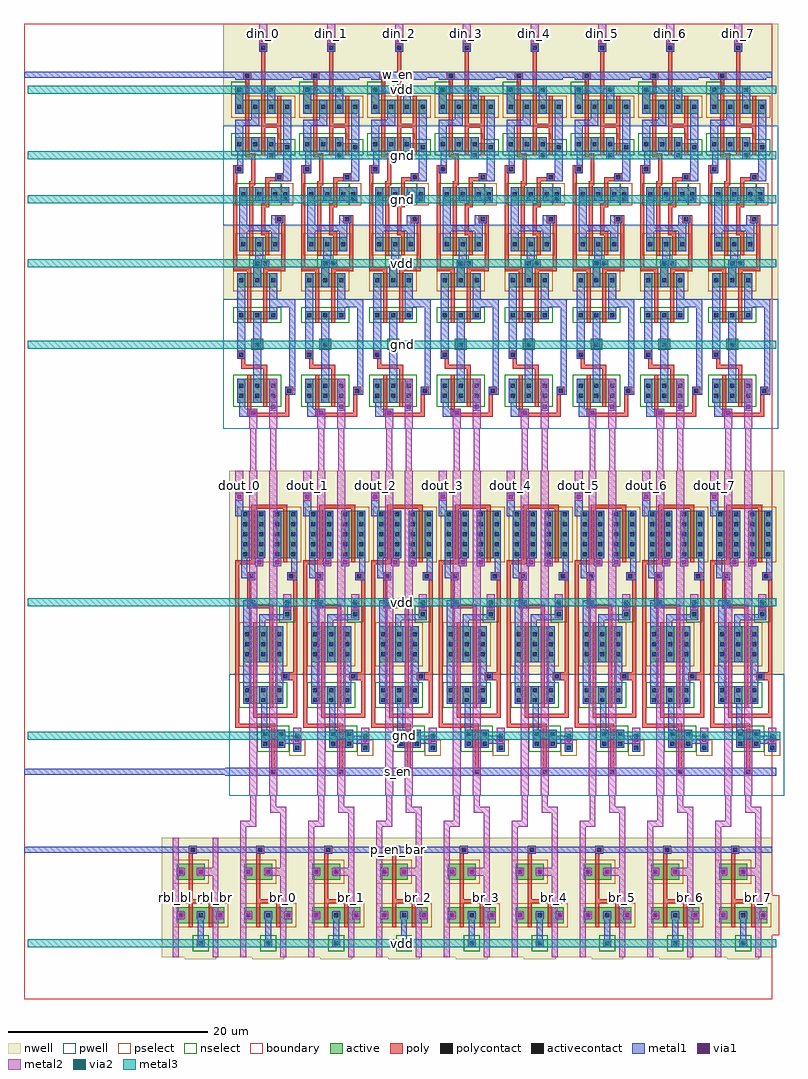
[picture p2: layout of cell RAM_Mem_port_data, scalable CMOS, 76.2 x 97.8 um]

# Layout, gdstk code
import gdstk
lib = gdstk.Library(unit=1e-6, precision=1e-09)
def R(c, l, rs):  # rectangles x0, y0, x1, y1
    for r in rs: c.add(gdstk.rectangle(r[:2], r[2:], *l))
def A(c, l, x, y, w, h, nx, ny, dx, dy):  # array of equal rectangles
    R(c, l, [(x+i*dx, y+j*dy, x+i*dx+w, y+j*dy+h) for i in range(nx) for j in range(ny)])
def P(c, l, *ps):  # polygons
    for p in ps: c.add(gdstk.Polygon(p, *l))
pwell = (41, 0)
nwell = (42, 0)
active = (43, 0)
pselect = (44, 0)
nselect = (45, 0)
poly = (46, 0)
polycontact = (47, 0)
activecontact = (48, 0)
metal1 = (49, 0)
via1 = (50, 0)
metal2 = (51, 0)
via2 = (61, 0)
metal3 = (62, 0)
boundary = (63, 0)

ram_mem_contact_12 = lib.new_cell('RAM_Mem_contact_12')
R(ram_mem_contact_12, nwell, [(-1.2,-1.2,2,2)])
R(ram_mem_contact_12, active, [(0,0,0.8,0.8)])
R(ram_mem_contact_12, pselect, [(-0.4,-0.4,1.2,1.2)])
R(ram_mem_contact_12, activecontact, [(0.2,0.2,0.6,0.6)])
R(ram_mem_contact_12, metal1, [(0,0,0.8,0.8)])
R(ram_mem_contact_12, boundary, [(-1.2,-1.2,2,2)])

ram_mem_pmos_m1_w1_600_s = lib.new_cell('RAM_Mem_pmos_m1_w1_600_sm1_dm1')
R(ram_mem_pmos_m1_w1_600_s, nwell, [(-1.2,-1.2,4,2.8)])
R(ram_mem_pmos_m1_w1_600_s, active, [(0,0,2.8,1.6)])
R(ram_mem_pmos_m1_w1_600_s, pselect, [(-0.4,-0.4,3.2,2)])
R(ram_mem_pmos_m1_w1_600_s, poly, [(1.2,-0.4,1.6,2), (1.2,-0.4,1.6,2)])
R(ram_mem_pmos_m1_w1_600_s, metal1, [(0,0.4,0.8,1.2), (2,0.4,2.8,1.2)])
R(ram_mem_pmos_m1_w1_600_s, boundary, [(-1.2,-1.2,4,2.8)])
ram_mem_pmos_m1_w1_600_s.add(gdstk.Reference(ram_mem_contact_12, (0,0.4)))
ram_mem_pmos_m1_w1_600_s.add(gdstk.Reference(ram_mem_contact_12, (2,0.4)))
ram_mem_pmos_m1_w1_600_s.add(gdstk.Label('G', (1.4,0.8), layer=46, texttype=0))
ram_mem_pmos_m1_w1_600_s.add(gdstk.Label('S', (0.4,0.8), layer=49, texttype=0))
ram_mem_pmos_m1_w1_600_s.add(gdstk.Label('D', (2.4,0.8), layer=49, texttype=0))

ram_mem_contact_15 = lib.new_cell('RAM_Mem_contact_15')
R(ram_mem_contact_15, poly, [(0,0,0.8,0.8)])
R(ram_mem_contact_15, polycontact, [(0.2,0.2,0.6,0.6)])
R(ram_mem_contact_15, metal1, [(0,0,0.8,0.8)])
R(ram_mem_contact_15, boundary, [(0,0,0.8,0.8)])

ram_mem_contact_23 = lib.new_cell('RAM_Mem_contact_23')
R(ram_mem_contact_23, nwell, [(-1.2,-1.2,2,2)])
R(ram_mem_contact_23, active, [(0,0,0.8,0.8)])
R(ram_mem_contact_23, nselect, [(-0.4,-0.4,1.2,1.2)])
R(ram_mem_contact_23, activecontact, [(0.2,0.2,0.6,0.6)])
R(ram_mem_contact_23, metal1, [(0,0,0.8,0.8)])
R(ram_mem_contact_23, boundary, [(-1.2,-1.2,2,2)])

ram_mem_contact_18 = lib.new_cell('RAM_Mem_contact_18')
R(ram_mem_contact_18, metal1, [(0,0,0.8,0.8)])
R(ram_mem_contact_18, via1, [(0.2,0.2,0.6,0.6)])
R(ram_mem_contact_18, metal2, [(0,0,0.8,0.8)])
R(ram_mem_contact_18, boundary, [(0,0,0.8,0.8)])

ram_mem_contact_24 = lib.new_cell('RAM_Mem_contact_24')
R(ram_mem_contact_24, metal1, [(0,0,0.8,0.8)])
R(ram_mem_contact_24, via1, [(0.2,0.2,0.6,0.6)])
R(ram_mem_contact_24, metal2, [(0,0,0.8,0.8)])
R(ram_mem_contact_24, boundary, [(0,0,0.8,0.8)])

ram_mem_precharge_0 = lib.new_cell('RAM_Mem_precharge_0')
R(ram_mem_precharge_0, nwell, [(0,0,6.8,12)])
R(ram_mem_precharge_0, poly, [(2.7,1,3.1,1.4), (2.9,1,3.1,1.4), (2.7,1.2,3.1,2.2), (2.7,4.6,3.1,6.6), (2.7,6.2,5.1,6.6)])
R(ram_mem_precharge_0, metal1, [(0,0.9,6.8,1.5), (3.6,7.8,4.2,10.6), (3.6,10.3,4.2,10.9)])
R(ram_mem_precharge_0, metal2, [(1.1,0,1.7,12), (1.1,0,1.7,12), (5.1,0,5.7,12), (5.1,0,5.7,12), (1.4,3,1.9,3.8), (3.9,3,5.4,3.8), (1.4,7.4,1.9,8.2), (5.4,7.4,5.9,8.2)])
R(ram_mem_precharge_0, boundary, [(0,0,6.8,12)])
ram_mem_precharge_0.add(gdstk.Reference(ram_mem_pmos_m1_w1_600_s, (1.5,2.6)))
ram_mem_precharge_0.add(gdstk.Reference(ram_mem_pmos_m1_w1_600_s, (1.5,7)))
ram_mem_precharge_0.add(gdstk.Reference(ram_mem_pmos_m1_w1_600_s, (3.5,7)))
ram_mem_precharge_0.add(gdstk.Reference(ram_mem_contact_15, (2.7,0.8)))
ram_mem_precharge_0.add(gdstk.Reference(ram_mem_contact_23, (3.5,10.2)))
ram_mem_precharge_0.add(gdstk.Reference(ram_mem_contact_18, (3.5,10.2)))
ram_mem_precharge_0.add(gdstk.Reference(ram_mem_contact_24, (1.5,3)))
ram_mem_precharge_0.add(gdstk.Reference(ram_mem_contact_24, (3.5,3)))
ram_mem_precharge_0.add(gdstk.Reference(ram_mem_contact_24, (1.5,7.4)))
ram_mem_precharge_0.add(gdstk.Reference(ram_mem_contact_24, (5.5,7.4)))
ram_mem_precharge_0.add(gdstk.Label('en_bar', (3.4,1.2), layer=49, texttype=0))
ram_mem_precharge_0.add(gdstk.Label('vdd', (3.9,10.6), layer=49, texttype=0))
ram_mem_precharge_0.add(gdstk.Label('bl', (1.4,6), layer=51, texttype=0))
ram_mem_precharge_0.add(gdstk.Label('br', (5.4,6), layer=51, texttype=0))

ram_mem_contact_19 = lib.new_cell('RAM_Mem_contact_19')
R(ram_mem_contact_19, metal2, [(0,0,0.8,0.8)])
R(ram_mem_contact_19, via2, [(0.2,0.2,0.6,0.6)])
R(ram_mem_contact_19, metal3, [(0,0,0.8,0.8)])
R(ram_mem_contact_19, boundary, [(0,0,0.8,0.8)])

ram_mem_precharge_array = lib.new_cell('RAM_Mem_precharge_array')
R(ram_mem_precharge_array, metal1, [(0,0.9,75,1.5), (16.9,0.9,17.5,1.5), (16.9,0.9,17.5,1.5), (23.7,0.9,24.3,1.5), (23.7,0.9,24.3,1.5), (30.5,0.9,31.1,1.5), (30.5,0.9,31.1,1.5), (37.3,0.9,37.9,1.5), (37.3,0.9,37.9,1.5), (44.1,0.9,44.7,1.5), (44.1,0.9,44.7,1.5), (50.9,0.9,51.5,1.5), (50.9,0.9,51.5,1.5), (57.7,0.9,58.3,1.5), (57.7,0.9,58.3,1.5), (64.5,0.9,65.1,1.5), (64.5,0.9,65.1,1.5), (71.3,0.9,71.9,1.5), (71.3,0.9,71.9,1.5)])
R(ram_mem_precharge_array, metal2, [(14.9,0,15.5,12), (18.9,0,19.5,12), (21.7,0,22.3,12), (25.7,0,26.3,12), (28.5,0,29.1,12), (32.5,0,33.1,12), (35.3,0,35.9,12), (39.3,0,39.9,12), (42.1,0,42.7,12), (46.1,0,46.7,12), (48.9,0,49.5,12), (52.9,0,53.5,12), (55.7,0,56.3,12), (59.7,0,60.3,12), (62.5,0,63.1,12), (66.5,0,67.1,12), (69.3,0,69.9,12), (73.3,0,73.9,12)])
R(ram_mem_precharge_array, metal3, [(0.4,10.2,75.4,11)])
R(ram_mem_precharge_array, boundary, [(0,0,75,12)])
ram_mem_precharge_array.add(gdstk.Reference(ram_mem_precharge_0, (13.8,0)))
ram_mem_precharge_array.add(gdstk.Reference(ram_mem_precharge_0, (20.6,0)))
ram_mem_precharge_array.add(gdstk.Reference(ram_mem_precharge_0, (27.4,0)))
ram_mem_precharge_array.add(gdstk.Reference(ram_mem_precharge_0, (34.2,0)))
ram_mem_precharge_array.add(gdstk.Reference(ram_mem_precharge_0, (41,0)))
ram_mem_precharge_array.add(gdstk.Reference(ram_mem_precharge_0, (47.8,0)))
ram_mem_precharge_array.add(gdstk.Reference(ram_mem_precharge_0, (54.6,0)))
ram_mem_precharge_array.add(gdstk.Reference(ram_mem_precharge_0, (61.4,0)))
ram_mem_precharge_array.add(gdstk.Reference(ram_mem_precharge_0, (68.2,0)))
ram_mem_precharge_array.add(gdstk.Reference(ram_mem_contact_18, (17.3,10.2)))
ram_mem_precharge_array.add(gdstk.Reference(ram_mem_contact_19, (17.3,10.2)))
ram_mem_precharge_array.add(gdstk.Reference(ram_mem_contact_18, (24.1,10.2)))
ram_mem_precharge_array.add(gdstk.Reference(ram_mem_contact_19, (24.1,10.2)))
ram_mem_precharge_array.add(gdstk.Reference(ram_mem_contact_18, (30.9,10.2)))
ram_mem_precharge_array.add(gdstk.Reference(ram_mem_contact_19, (30.9,10.2)))
ram_mem_precharge_array.add(gdstk.Reference(ram_mem_contact_18, (37.7,10.2)))
ram_mem_precharge_array.add(gdstk.Reference(ram_mem_contact_19, (37.7,10.2)))
ram_mem_precharge_array.add(gdstk.Reference(ram_mem_contact_18, (44.5,10.2)))
ram_mem_precharge_array.add(gdstk.Reference(ram_mem_contact_19, (44.5,10.2)))
ram_mem_precharge_array.add(gdstk.Reference(ram_mem_contact_18, (51.3,10.2)))
ram_mem_precharge_array.add(gdstk.Reference(ram_mem_contact_19, (51.3,10.2)))
ram_mem_precharge_array.add(gdstk.Reference(ram_mem_contact_18, (58.1,10.2)))
ram_mem_precharge_array.add(gdstk.Reference(ram_mem_contact_19, (58.1,10.2)))
ram_mem_precharge_array.add(gdstk.Reference(ram_mem_contact_18, (64.9,10.2)))
ram_mem_precharge_array.add(gdstk.Reference(ram_mem_contact_19, (64.9,10.2)))
ram_mem_precharge_array.add(gdstk.Reference(ram_mem_contact_18, (71.7,10.2)))
ram_mem_precharge_array.add(gdstk.Reference(ram_mem_contact_19, (71.7,10.2)))
ram_mem_precharge_array.add(gdstk.Label('en_bar', (37.5,1.2), layer=49, texttype=0))
ram_mem_precharge_array.add(gdstk.Label('bl_0', (15.2,6), layer=51, texttype=0))
ram_mem_precharge_array.add(gdstk.Label('br_0', (19.2,6), layer=51, texttype=0))
ram_mem_precharge_array.add(gdstk.Label('bl_1', (22,6), layer=51, texttype=0))
ram_mem_precharge_array.add(gdstk.Label('br_1', (26,6), layer=51, texttype=0))
ram_mem_precharge_array.add(gdstk.Label('bl_2', (28.8,6), layer=51, texttype=0))
ram_mem_precharge_array.add(gdstk.Label('br_2', (32.8,6), layer=51, texttype=0))
ram_mem_precharge_array.add(gdstk.Label('bl_3', (35.6,6), layer=51, texttype=0))
ram_mem_precharge_array.add(gdstk.Label('br_3', (39.6,6), layer=51, texttype=0))
ram_mem_precharge_array.add(gdstk.Label('bl_4', (42.4,6), layer=51, texttype=0))
ram_mem_precharge_array.add(gdstk.Label('br_4', (46.4,6), layer=51, texttype=0))
ram_mem_precharge_array.add(gdstk.Label('bl_5', (49.2,6), layer=51, texttype=0))
ram_mem_precharge_array.add(gdstk.Label('br_5', (53.2,6), layer=51, texttype=0))
ram_mem_precharge_array.add(gdstk.Label('bl_6', (56,6), layer=51, texttype=0))
ram_mem_precharge_array.add(gdstk.Label('br_6', (60,6), layer=51, texttype=0))
ram_mem_precharge_array.add(gdstk.Label('bl_7', (62.8,6), layer=51, texttype=0))
ram_mem_precharge_array.add(gdstk.Label('br_7', (66.8,6), layer=51, texttype=0))
ram_mem_precharge_array.add(gdstk.Label('bl_8', (69.6,6), layer=51, texttype=0))
ram_mem_precharge_array.add(gdstk.Label('br_8', (73.6,6), layer=51, texttype=0))
ram_mem_precharge_array.add(gdstk.Label('vdd', (37.9,10.6), layer=62, texttype=0))

sense_amp = lib.new_cell('sense_amp')
R(sense_amp, pwell, [(0,20.4,8,32.6)])
R(sense_amp, nwell, [(0,0,8,20.4)])
R(sense_amp, active, [(1.2,4,3.6,8.8), (4.4,4,6.8,8.8), (5.4,14,6.2,14.8), (1.4,15.6,5.4,19.2), (1.4,21.6,5.4,23.4), (3.2,26,5.6,27.8), (6.4,27.4,7.2,28.2)])
R(sense_amp, pselect, [(0.8,3.6,7.2,9.2), (1,15.2,5.8,19.6), (6,27,7.6,28.6)])
R(sense_amp, nselect, [(5,13.6,6.6,15.2), (1,21.2,5.8,23.8), (2.8,25.6,6,28.2)])
R(sense_amp, poly, [(2.2,3.4,5.8,3.8), (2.2,3.8,2.6,9), (5.4,3.8,5.8,9.2), (0.6,9,2.6,9.4), (0.6,9.4,1,25.4), (1.8,10.2,2.6,11), (5.8,10.2,6.8,11), (1.8,11,2.2,13), (6.4,11,6.8,20.2), (1.8,13,2.6,13.4), (1.8,13.4,4.4,13.8), (4,13.8,4.4,23.8), (2.4,15.2,2.8,24.4), (5.2,20.2,6.8,21), (6.4,21,6.8,24.4), (2.4,24.4,6.8,24.8), (0.6,25.4,4.6,25.8), (4.2,25.8,4.6,29.8), (4,29.8,4.8,30.6)])
R(sense_amp, polycontact, [(2,10.4,2.4,10.8), (6,10.4,6.4,10.8), (2,13.2,2.4,13.6), (5.4,20.4,5.8,20.8), (4.2,30,4.6,30.4)])
A(sense_amp, activecontact, 1.4, 4.2, 0.4, 0.4, 4, 5, 1.6, 1)
A(sense_amp, activecontact, 1.6, 16.2, 0.4, 0.4, 3, 3, 1.6, 1)
A(sense_amp, activecontact, 1.6, 21.8, 0.4, 0.4, 3, 2, 1.6, 1)
R(sense_amp, activecontact, [(5.6,14.2,6,14.6), (3.4,26.2,3.8,26.6), (5,26.2,5.4,26.6), (3.4,27.2,3.8,27.6), (5,27.2,5.4,27.6), (6.6,27.6,7,28)])
R(sense_amp, metal1, [(0.6,2.2,1.4,4), (0.6,4,2,4.6), (2.8,4,3.6,8.8), (4.4,4,5.2,9.6), (6,4,6.8,8.8), (1.2,4.6,2,8.8), (1.2,8.8,1.8,10.2), (2.6,8.8,3.4,9.6), (6.2,8.8,6.8,10.2), (1.2,10.2,2.6,10.8), (5.8,10.2,6.8,11), (1.8,10.8,2.6,11), (1.4,13,2.6,13.8), (5.4,13.2,6.2,14.4), (1.4,13.8,2.2,23.4), (3,14.4,6.2,15), (3,15,3.6,15.6), (3,15.6,3.8,19.2), (4.6,15.6,5.4,20.2), (4.6,20.2,6,21), (4.6,21,5.4,23.4), (3,21.6,3.8,23.4), (3.2,23.4,3.8,26), (3.2,26,4,27.8), (4.8,26,5.6,26.6), (4.8,26.6,7.2,27.4), (4.8,27.4,5.6,27.8), (6.4,27.4,7.2,28.2), (-0.4,29.8,7.2,30.6), (-0.4,29.8,7.2,30.6)])
R(sense_amp, via1, [(0.8,2.4,1.2,2.8), (2.8,9,3.2,9.4), (4.6,9,5,9.4), (5.6,13.4,6,13.8), (6.6,26.8,7,27.2)])
R(sense_amp, metal2, [(0.6,0,1.4,3), (0.6,0,1.4,3), (2,0,2.8,8.8), (4,0,4.8,8.8), (2,8.8,3.4,9.6), (4,8.8,5.2,9.6), (2,9.6,2.8,32.6), (2,9.6,2.8,32.6), (4,9.6,4.8,32.6), (4,9.6,4.8,32.6), (5.4,12.4,6.2,14), (5.4,12.4,6.2,14), (6.4,25.8,7.2,27.4), (6.4,25.8,7.2,27.4)])
R(sense_amp, boundary, [(0,0,6.8,32.6)])
sense_amp.add(gdstk.Label('en', (0,29.8), layer=49, texttype=0))
sense_amp.add(gdstk.Label('gnd', (6.8,26.2), layer=51, texttype=0))
sense_amp.add(gdstk.Label('vdd', (5.8,12.8), layer=51, texttype=0))
sense_amp.add(gdstk.Label('bl', (2.4,32.2), layer=51, texttype=0))
sense_amp.add(gdstk.Label('br', (4.4,32.2), layer=51, texttype=0))
sense_amp.add(gdstk.Label('dout', (1,0.6), layer=51, texttype=0))
sense_amp.add(gdstk.Label('bl', (2.4,21.1), layer=51, texttype=0))
sense_amp.add(gdstk.Label('br', (4.4,21.1), layer=51, texttype=0))
sense_amp.add(gdstk.Label('dout', (1,1.5), layer=51, texttype=0))
sense_amp.add(gdstk.Label('en', (3.4,30.2), layer=49, texttype=0))
sense_amp.add(gdstk.Label('vdd', (5.8,13.2), layer=51, texttype=0))
sense_amp.add(gdstk.Label('gnd', (6.8,26.6), layer=51, texttype=0))

ram_mem_sense_amp_array = lib.new_cell('RAM_Mem_sense_amp_array')
A(ram_mem_sense_amp_array, metal1, 23.7, 29.9, 0.6, 0.6, 8, 1, 6.8, 0)
R(ram_mem_sense_amp_array, metal1, [(0,29.9,75,30.5)])
A(ram_mem_sense_amp_array, metal2, 21.2, 0, 0.8, 3, 8, 1, 6.8, 0)
R(ram_mem_sense_amp_array, metal2, [(22.6,9.6,23.4,32.6), (24.6,9.6,25.4,32.6), (29.4,9.6,30.2,32.6), (31.4,9.6,32.2,32.6), (36.2,9.6,37,32.6), (38.2,9.6,39,32.6), (43,9.6,43.8,32.6), (45,9.6,45.8,32.6), (49.8,9.6,50.6,32.6), (51.8,9.6,52.6,32.6), (56.6,9.6,57.4,32.6), (58.6,9.6,59.4,32.6), (63.4,9.6,64.2,32.6), (65.4,9.6,66.2,32.6), (70.2,9.6,71,32.6), (72.2,9.6,73,32.6)])
R(ram_mem_sense_amp_array, metal3, [(0.4,12.8,75.4,13.6), (0.4,26.2,75.8,27)])
R(ram_mem_sense_amp_array, boundary, [(0,0,75,32.6)])
ram_mem_sense_amp_array.add(gdstk.Reference(sense_amp, (20.6,0)))
ram_mem_sense_amp_array.add(gdstk.Reference(sense_amp, (27.4,0)))
ram_mem_sense_amp_array.add(gdstk.Reference(sense_amp, (34.2,0)))
ram_mem_sense_amp_array.add(gdstk.Reference(sense_amp, (41,0)))
ram_mem_sense_amp_array.add(gdstk.Reference(sense_amp, (47.8,0)))
ram_mem_sense_amp_array.add(gdstk.Reference(sense_amp, (54.6,0)))
ram_mem_sense_amp_array.add(gdstk.Reference(sense_amp, (61.4,0)))
ram_mem_sense_amp_array.add(gdstk.Reference(sense_amp, (68.2,0)))
ram_mem_sense_amp_array.add(gdstk.Reference(ram_mem_contact_19, (26,12.8)))
ram_mem_sense_amp_array.add(gdstk.Reference(ram_mem_contact_19, (32.8,12.8)))
ram_mem_sense_amp_array.add(gdstk.Reference(ram_mem_contact_19, (39.6,12.8)))
ram_mem_sense_amp_array.add(gdstk.Reference(ram_mem_contact_19, (46.4,12.8)))
ram_mem_sense_amp_array.add(gdstk.Reference(ram_mem_contact_19, (53.2,12.8)))
ram_mem_sense_amp_array.add(gdstk.Reference(ram_mem_contact_19, (60,12.8)))
ram_mem_sense_amp_array.add(gdstk.Reference(ram_mem_contact_19, (66.8,12.8)))
ram_mem_sense_amp_array.add(gdstk.Reference(ram_mem_contact_19, (73.6,12.8)))
ram_mem_sense_amp_array.add(gdstk.Reference(ram_mem_contact_19, (27,26.2)))
ram_mem_sense_amp_array.add(gdstk.Reference(ram_mem_contact_19, (33.8,26.2)))
ram_mem_sense_amp_array.add(gdstk.Reference(ram_mem_contact_19, (40.6,26.2)))
ram_mem_sense_amp_array.add(gdstk.Reference(ram_mem_contact_19, (47.4,26.2)))
ram_mem_sense_amp_array.add(gdstk.Reference(ram_mem_contact_19, (54.2,26.2)))
ram_mem_sense_amp_array.add(gdstk.Reference(ram_mem_contact_19, (61,26.2)))
ram_mem_sense_amp_array.add(gdstk.Reference(ram_mem_contact_19, (67.8,26.2)))
ram_mem_sense_amp_array.add(gdstk.Reference(ram_mem_contact_19, (74.6,26.2)))
ram_mem_sense_amp_array.add(gdstk.Label('bl_0', (23,21.1), layer=51, texttype=0))
ram_mem_sense_amp_array.add(gdstk.Label('br_0', (25,21.1), layer=51, texttype=0))
ram_mem_sense_amp_array.add(gdstk.Label('data_0', (21.6,1.5), layer=51, texttype=0))
ram_mem_sense_amp_array.add(gdstk.Label('bl_1', (29.8,21.1), layer=51, texttype=0))
ram_mem_sense_amp_array.add(gdstk.Label('br_1', (31.8,21.1), layer=51, texttype=0))
ram_mem_sense_amp_array.add(gdstk.Label('data_1', (28.4,1.5), layer=51, texttype=0))
ram_mem_sense_amp_array.add(gdstk.Label('bl_2', (36.6,21.1), layer=51, texttype=0))
ram_mem_sense_amp_array.add(gdstk.Label('br_2', (38.6,21.1), layer=51, texttype=0))
ram_mem_sense_amp_array.add(gdstk.Label('data_2', (35.2,1.5), layer=51, texttype=0))
ram_mem_sense_amp_array.add(gdstk.Label('bl_3', (43.4,21.1), layer=51, texttype=0))
ram_mem_sense_amp_array.add(gdstk.Label('br_3', (45.4,21.1), layer=51, texttype=0))
ram_mem_sense_amp_array.add(gdstk.Label('data_3', (42,1.5), layer=51, texttype=0))
ram_mem_sense_amp_array.add(gdstk.Label('bl_4', (50.2,21.1), layer=51, texttype=0))
ram_mem_sense_amp_array.add(gdstk.Label('br_4', (52.2,21.1), layer=51, texttype=0))
ram_mem_sense_amp_array.add(gdstk.Label('data_4', (48.8,1.5), layer=51, texttype=0))
ram_mem_sense_amp_array.add(gdstk.Label('bl_5', (57,21.1), layer=51, texttype=0))
ram_mem_sense_amp_array.add(gdstk.Label('br_5', (59,21.1), layer=51, texttype=0))
ram_mem_sense_amp_array.add(gdstk.Label('data_5', (55.6,1.5), layer=51, texttype=0))
ram_mem_sense_amp_array.add(gdstk.Label('bl_6', (63.8,21.1), layer=51, texttype=0))
ram_mem_sense_amp_array.add(gdstk.Label('br_6', (65.8,21.1), layer=51, texttype=0))
ram_mem_sense_amp_array.add(gdstk.Label('data_6', (62.4,1.5), layer=51, texttype=0))
ram_mem_sense_amp_array.add(gdstk.Label('bl_7', (70.6,21.1), layer=51, texttype=0))
ram_mem_sense_amp_array.add(gdstk.Label('br_7', (72.6,21.1), layer=51, texttype=0))
ram_mem_sense_amp_array.add(gdstk.Label('data_7', (69.2,1.5), layer=51, texttype=0))
ram_mem_sense_amp_array.add(gdstk.Label('vdd', (37.9,13.2), layer=62, texttype=0))
ram_mem_sense_amp_array.add(gdstk.Label('gnd', (38.1,26.6), layer=62, texttype=0))
ram_mem_sense_amp_array.add(gdstk.Label('en', (37.5,30.2), layer=49, texttype=0))

write_driver = lib.new_cell('write_driver')
R(write_driver, pwell, [(-0.6,10.2,7.4,20.2), (-0.6,27.6,7.4,40.6)])
R(write_driver, nwell, [(-0.6,0,7.4,10.2), (-0.6,20.2,7.4,27.6)])
R(write_driver, active, [(0.6,6.2,1.4,7.6), (0.6,7.6,6.2,9), (0.6,11.4,4.6,12), (0.6,12,6.2,12.8), (1,16.4,6,17.8), (1,21.4,5,22.8), (2.4,23.6,3.2,25), (0.8,25,4.8,26.4), (0.8,28.8,4.8,29.6), (2.2,31.6,3.4,32.7), (0.8,35.6,4.8,38)])
R(write_driver, pselect, [(0.2,7,1.8,7.2), (0.2,7.2,6.6,9.4), (5.2,16,6.4,18.2), (0.6,21,5.4,23.2), (2,24.4,3.6,24.6), (0.4,24.6,5.2,26.8), (2.2,31.6,3.4,32.7)])
R(write_driver, nselect, [(0.2,5.8,1.8,7), (0.2,11,5,11.6), (0.2,11.6,6.6,13.2), (0.6,16,5.2,18.2), (2,23.2,3.6,24.4), (0.4,28.4,5.2,30), (0.4,35.2,5.2,38.4)])
R(write_driver, poly, [(3,2,3.8,2.8), (3.2,2.8,3.6,10), (1.4,4.8,2.2,5.6), (1.6,5.6,2,13), (4.8,7.2,5.2,10), (3.2,10,5.2,10.4), (3.2,10.4,3.6,13.2), (4.8,10.4,5.2,13.2), (1.6,13,2.6,13.4), (2.2,13.4,2.6,15.8), (0.4,14.2,1.4,15), (0.4,15,0.8,24.4), (4.6,15,5.4,15.4), (3.6,15.4,5.4,15.8), (2,15.8,2.6,16.2), (3.6,15.8,4,18), (2,16.2,2.4,23.2), (3.2,18,4,18.4), (3.2,18.4,3.6,20.8), (4.6,19.2,5.6,20), (5.2,20,5.6,24.4), (3.2,20.8,4,21.2), (3.6,21.2,4,23.2), (0.4,24.4,2.2,24.8), (3.4,24.4,5.6,24.8), (1.8,24.8,2.2,30), (3.4,24.8,3.8,30), (0.8,32.8,1.6,33.6), (1.2,33.6,1.6,34.2), (1.2,34.2,3.8,34.6), (3.4,34.6,3.8,38.4), (1.8,35.2,2.2,39), (5.6,36.4,6.4,37.2), (5.6,37.2,6,39), (1.8,39,6,39.4)])
R(write_driver, polycontact, [(3.2,2.2,3.6,2.6), (1.6,5,2,5.4), (0.8,14.4,1.2,14.8), (4.8,15.2,5.2,15.6), (4.8,19.4,5.2,19.8), (1,33,1.4,33.4), (5.8,36.6,6.2,37)])
A(write_driver, activecontact, 0.8, 8.1, 0.4, 0.4, 4, 1, 1.6, 0)
A(write_driver, activecontact, 0.8, 11.9, 0.4, 0.4, 3, 1, 1.6, 0)
A(write_driver, activecontact, 1.2, 16.9, 0.4, 0.4, 3, 2, 1.6, 5)
A(write_driver, activecontact, 1, 25.5, 0.4, 0.4, 3, 2, 1.6, 3.5)
A(write_driver, activecontact, 1, 36.1, 0.4, 0.4, 3, 2, 1.6, 1)
R(write_driver, activecontact, [(0.8,6.4,1.2,6.8), (5.6,12.2,6,12.6), (5.4,16.9,5.8,17.3), (2.6,23.8,3,24.2), (2.6,32,3,32.4)])
R(write_driver, metal1, [(3,1.2,3.8,2.8), (0.6,4.8,6.2,5.6), (0.6,4.8,6.2,5.6), (0.6,6.2,4.6,7), (0.6,7,1.4,9), (3.8,7,4.6,9), (2.2,7.6,3,9.6), (5.4,7.6,6.2,15), (0.6,9.6,3,10.2), (0.6,10.2,1.4,12.8), (2.2,11.4,3,12.8), (3.8,11.4,4.6,13.6), (0.8,12.8,1.4,14.2), (0.6,14.2,1.4,15), (4.6,15,6.2,15.8), (1,16.4,1.8,20.2), (2.6,16.4,3.4,17.8), (4.2,16.4,6,17.8), (5,17.8,6,18), (4.2,19.2,5.4,20), (4.2,20,5,20.2), (1,20.2,5,20.8), (1,20.8,1.8,22.8), (4.2,20.8,5,22.8), (2.6,21.4,3.4,23.6), (2.4,23.6,4,24.4), (2.4,24.4,3.2,26.4), (0.8,25,1.6,33.6), (4,25,4.8,27.6), (4,27.6,6.6,28.4), (4,28.4,4.8,29.6), (6,28.4,6.6,36.4), (0.8,35.6,1.6,38), (4,35.6,4.8,38.8), (5.6,36.4,6.6,37.2), (1,38,1.6,38.6), (1,38.6,2.8,39.4)])
P(write_driver, metal1, [(2.4,28.8),(2.4,31.695),(2.4,38),(3.2,38),(3.2,28.8)])
R(write_driver, via1, [(3.2,1.4,3.6,1.8), (4,6.4,4.4,6.8), (4,13,4.4,13.4), (5.4,17.4,5.8,17.8), (3.4,23.8,3.8,24.2), (2.6,32,3,32.4), (4.2,38.2,4.6,38.6), (2.2,38.8,2.6,39.2)])
R(write_driver, metal2, [(3,0,3.8,2), (3,0,3.8,2), (3.8,6.2,4.6,7), (3.8,6.2,4.6,7), (3.8,12.8,4.6,13.6), (3.8,12.8,4.6,13.6), (5.2,17.2,6,18), (5.2,17.2,6,18), (3.2,23.6,4,24.4), (3.2,23.6,4,24.4), (2.4,31.8,3.2,32.6), (2.4,31.8,3.2,32.6), (4,35.6,4.8,40.6), (4,35.6,4.8,40.6), (2,38.6,2.8,40.6), (2,38.6,2.8,40.6)])
R(write_driver, boundary, [(0,0,6.8,40.6)])
write_driver.add(gdstk.Label('en', (3.4,5.2), layer=49, texttype=0))
write_driver.add(gdstk.Label('din', (3,0.2), layer=51, texttype=0))
write_driver.add(gdstk.Label('gnd', (4.2,13.2), layer=51, texttype=0))
write_driver.add(gdstk.Label('gnd', (5.6,17.6), layer=51, texttype=0))
write_driver.add(gdstk.Label('vdd', (4.2,6.6), layer=51, texttype=0))
write_driver.add(gdstk.Label('vdd', (3.6,24), layer=51, texttype=0))
write_driver.add(gdstk.Label('bl', (2.4,40.2), layer=51, texttype=0))
write_driver.add(gdstk.Label('br', (4.4,40.2), layer=51, texttype=0))
write_driver.add(gdstk.Label('gnd', (2.8,32.2), layer=51, texttype=0))
write_driver.add(gdstk.Label('din', (3.4,1), layer=51, texttype=0))
write_driver.add(gdstk.Label('bl', (2.4,39.6), layer=51, texttype=0))
write_driver.add(gdstk.Label('br', (4.4,38.1), layer=51, texttype=0))
write_driver.add(gdstk.Label('en', (3.4,5.2), layer=49, texttype=0))
write_driver.add(gdstk.Label('vdd', (4.2,6.6), layer=51, texttype=0))
write_driver.add(gdstk.Label('vdd', (3.6,24), layer=51, texttype=0))
write_driver.add(gdstk.Label('gnd', (4.2,13.2), layer=51, texttype=0))
write_driver.add(gdstk.Label('gnd', (5.6,17.6), layer=51, texttype=0))
write_driver.add(gdstk.Label('gnd', (2.8,32.2), layer=51, texttype=0))

ram_mem_write_driver_arr = lib.new_cell('RAM_Mem_write_driver_array')
R(ram_mem_write_driver_arr, metal1, [(0,4.8,75,5.4)])
A(ram_mem_write_driver_arr, metal2, 23.6, 0, 0.8, 2, 8, 1, 6.8, 0)
A(ram_mem_write_driver_arr, metal2, 24.6, 35.6, 0.8, 5, 8, 1, 6.8, 0)
A(ram_mem_write_driver_arr, metal2, 22.6, 38.6, 0.8, 2, 8, 1, 6.8, 0)
R(ram_mem_write_driver_arr, metal3, [(0.4,6.2,75.4,7), (0.4,12.8,75.4,13.6), (0.4,17.2,75.4,18), (0.4,23.6,75.4,24.4), (0.4,31.8,75.4,32.6)])
R(ram_mem_write_driver_arr, boundary, [(0,0,75,40.6)])
ram_mem_write_driver_arr.add(gdstk.Reference(write_driver, (20.6,0)))
ram_mem_write_driver_arr.add(gdstk.Reference(write_driver, (27.4,0)))
ram_mem_write_driver_arr.add(gdstk.Reference(write_driver, (34.2,0)))
ram_mem_write_driver_arr.add(gdstk.Reference(write_driver, (41,0)))
ram_mem_write_driver_arr.add(gdstk.Reference(write_driver, (47.8,0)))
ram_mem_write_driver_arr.add(gdstk.Reference(write_driver, (54.6,0)))
ram_mem_write_driver_arr.add(gdstk.Reference(write_driver, (61.4,0)))
ram_mem_write_driver_arr.add(gdstk.Reference(write_driver, (68.2,0)))
ram_mem_write_driver_arr.add(gdstk.Reference(ram_mem_contact_19, (24.4,6.2)))
ram_mem_write_driver_arr.add(gdstk.Reference(ram_mem_contact_19, (31.2,6.2)))
ram_mem_write_driver_arr.add(gdstk.Reference(ram_mem_contact_19, (38,6.2)))
ram_mem_write_driver_arr.add(gdstk.Reference(ram_mem_contact_19, (44.8,6.2)))
ram_mem_write_driver_arr.add(gdstk.Reference(ram_mem_contact_19, (51.6,6.2)))
ram_mem_write_driver_arr.add(gdstk.Reference(ram_mem_contact_19, (58.4,6.2)))
ram_mem_write_driver_arr.add(gdstk.Reference(ram_mem_contact_19, (65.2,6.2)))
ram_mem_write_driver_arr.add(gdstk.Reference(ram_mem_contact_19, (72,6.2)))
ram_mem_write_driver_arr.add(gdstk.Reference(ram_mem_contact_19, (23.8,23.6)))
ram_mem_write_driver_arr.add(gdstk.Reference(ram_mem_contact_19, (30.6,23.6)))
ram_mem_write_driver_arr.add(gdstk.Reference(ram_mem_contact_19, (37.4,23.6)))
ram_mem_write_driver_arr.add(gdstk.Reference(ram_mem_contact_19, (44.2,23.6)))
ram_mem_write_driver_arr.add(gdstk.Reference(ram_mem_contact_19, (51,23.6)))
ram_mem_write_driver_arr.add(gdstk.Reference(ram_mem_contact_19, (57.8,23.6)))
ram_mem_write_driver_arr.add(gdstk.Reference(ram_mem_contact_19, (64.6,23.6)))
ram_mem_write_driver_arr.add(gdstk.Reference(ram_mem_contact_19, (71.4,23.6)))
ram_mem_write_driver_arr.add(gdstk.Reference(ram_mem_contact_19, (24.4,12.8)))
ram_mem_write_driver_arr.add(gdstk.Reference(ram_mem_contact_19, (31.2,12.8)))
ram_mem_write_driver_arr.add(gdstk.Reference(ram_mem_contact_19, (38,12.8)))
ram_mem_write_driver_arr.add(gdstk.Reference(ram_mem_contact_19, (44.8,12.8)))
ram_mem_write_driver_arr.add(gdstk.Reference(ram_mem_contact_19, (51.6,12.8)))
ram_mem_write_driver_arr.add(gdstk.Reference(ram_mem_contact_19, (58.4,12.8)))
ram_mem_write_driver_arr.add(gdstk.Reference(ram_mem_contact_19, (65.2,12.8)))
ram_mem_write_driver_arr.add(gdstk.Reference(ram_mem_contact_19, (72,12.8)))
ram_mem_write_driver_arr.add(gdstk.Reference(ram_mem_contact_19, (25.8,17.2)))
ram_mem_write_driver_arr.add(gdstk.Reference(ram_mem_contact_19, (32.6,17.2)))
ram_mem_write_driver_arr.add(gdstk.Reference(ram_mem_contact_19, (39.4,17.2)))
ram_mem_write_driver_arr.add(gdstk.Reference(ram_mem_contact_19, (46.2,17.2)))
ram_mem_write_driver_arr.add(gdstk.Reference(ram_mem_contact_19, (53,17.2)))
ram_mem_write_driver_arr.add(gdstk.Reference(ram_mem_contact_19, (59.8,17.2)))
ram_mem_write_driver_arr.add(gdstk.Reference(ram_mem_contact_19, (66.6,17.2)))
ram_mem_write_driver_arr.add(gdstk.Reference(ram_mem_contact_19, (73.4,17.2)))
ram_mem_write_driver_arr.add(gdstk.Reference(ram_mem_contact_19, (23,31.8)))
ram_mem_write_driver_arr.add(gdstk.Reference(ram_mem_contact_19, (29.8,31.8)))
ram_mem_write_driver_arr.add(gdstk.Reference(ram_mem_contact_19, (36.6,31.8)))
ram_mem_write_driver_arr.add(gdstk.Reference(ram_mem_contact_19, (43.4,31.8)))
ram_mem_write_driver_arr.add(gdstk.Reference(ram_mem_contact_19, (50.2,31.8)))
ram_mem_write_driver_arr.add(gdstk.Reference(ram_mem_contact_19, (57,31.8)))
ram_mem_write_driver_arr.add(gdstk.Reference(ram_mem_contact_19, (63.8,31.8)))
ram_mem_write_driver_arr.add(gdstk.Reference(ram_mem_contact_19, (70.6,31.8)))
ram_mem_write_driver_arr.add(gdstk.Label('data_0', (24,1), layer=51, texttype=0))
ram_mem_write_driver_arr.add(gdstk.Label('bl_0', (23,39.6), layer=51, texttype=0))
ram_mem_write_driver_arr.add(gdstk.Label('br_0', (25,38.1), layer=51, texttype=0))
ram_mem_write_driver_arr.add(gdstk.Label('data_1', (30.8,1), layer=51, texttype=0))
ram_mem_write_driver_arr.add(gdstk.Label('bl_1', (29.8,39.6), layer=51, texttype=0))
ram_mem_write_driver_arr.add(gdstk.Label('br_1', (31.8,38.1), layer=51, texttype=0))
ram_mem_write_driver_arr.add(gdstk.Label('data_2', (37.6,1), layer=51, texttype=0))
ram_mem_write_driver_arr.add(gdstk.Label('bl_2', (36.6,39.6), layer=51, texttype=0))
ram_mem_write_driver_arr.add(gdstk.Label('br_2', (38.6,38.1), layer=51, texttype=0))
ram_mem_write_driver_arr.add(gdstk.Label('data_3', (44.4,1), layer=51, texttype=0))
ram_mem_write_driver_arr.add(gdstk.Label('bl_3', (43.4,39.6), layer=51, texttype=0))
ram_mem_write_driver_arr.add(gdstk.Label('br_3', (45.4,38.1), layer=51, texttype=0))
ram_mem_write_driver_arr.add(gdstk.Label('data_4', (51.2,1), layer=51, texttype=0))
ram_mem_write_driver_arr.add(gdstk.Label('bl_4', (50.2,39.6), layer=51, texttype=0))
ram_mem_write_driver_arr.add(gdstk.Label('br_4', (52.2,38.1), layer=51, texttype=0))
ram_mem_write_driver_arr.add(gdstk.Label('data_5', (58,1), layer=51, texttype=0))
ram_mem_write_driver_arr.add(gdstk.Label('bl_5', (57,39.6), layer=51, texttype=0))
ram_mem_write_driver_arr.add(gdstk.Label('br_5', (59,38.1), layer=51, texttype=0))
ram_mem_write_driver_arr.add(gdstk.Label('data_6', (64.8,1), layer=51, texttype=0))
ram_mem_write_driver_arr.add(gdstk.Label('bl_6', (63.8,39.6), layer=51, texttype=0))
ram_mem_write_driver_arr.add(gdstk.Label('br_6', (65.8,38.1), layer=51, texttype=0))
ram_mem_write_driver_arr.add(gdstk.Label('data_7', (71.6,1), layer=51, texttype=0))
ram_mem_write_driver_arr.add(gdstk.Label('bl_7', (70.6,39.6), layer=51, texttype=0))
ram_mem_write_driver_arr.add(gdstk.Label('br_7', (72.6,38.1), layer=51, texttype=0))
ram_mem_write_driver_arr.add(gdstk.Label('en', (37.5,5.1), layer=49, texttype=0))
ram_mem_write_driver_arr.add(gdstk.Label('vdd', (37.9,6.6), layer=62, texttype=0))
ram_mem_write_driver_arr.add(gdstk.Label('vdd', (37.9,24), layer=62, texttype=0))
ram_mem_write_driver_arr.add(gdstk.Label('gnd', (37.9,13.2), layer=62, texttype=0))
ram_mem_write_driver_arr.add(gdstk.Label('gnd', (37.9,32.2), layer=62, texttype=0))
ram_mem_write_driver_arr.add(gdstk.Label('gnd', (37.9,17.6), layer=62, texttype=0))

ram_mem_port_data = lib.new_cell('RAM_Mem_port_data')
R(ram_mem_port_data, metal1, [(0,14.7,75,15.3), (0,22.5,75,23.1), (0,92.4,75,93)])
A(ram_mem_port_data, metal2, 21.7, 17.3, 1.6, 0.6, 8, 1, 6.8, 0)
A(ram_mem_port_data, metal2, 24.7, 18.7, 1.6, 0.6, 8, 1, 6.8, 0)
A(ram_mem_port_data, metal2, 22.7, 43.4, 0.6, 12.4, 8, 1, 6.8, 0)
A(ram_mem_port_data, metal2, 24.7, 43.4, 0.6, 11, 8, 1, 6.8, 0)
A(ram_mem_port_data, metal2, 21.2, 50, 0.8, 3, 8, 1, 6.8, 0)
A(ram_mem_port_data, metal2, 24.7, 54.4, 0.6, 2.8, 8, 1, 6.8, 0)
A(ram_mem_port_data, metal2, 22.7, 55.8, 0.6, 1.4, 8, 1, 6.8, 0)
A(ram_mem_port_data, metal2, 23.6, 95.8, 0.8, 2, 8, 1, 6.8, 0)
R(ram_mem_port_data, metal2, [(14.9,4.2,15.5,16.2), (18.9,4.2,19.5,16.2), (21.7,4.2,22.3,16.2), (25.7,4.2,26.3,16.2), (28.5,4.2,29.1,16.2), (32.5,4.2,33.1,16.2), (35.3,4.2,35.9,16.2), (39.3,4.2,39.9,16.2), (42.1,4.2,42.7,16.2), (46.1,4.2,46.7,16.2), (48.9,4.2,49.5,16.2), (52.9,4.2,53.5,16.2), (55.7,4.2,56.3,16.2), (59.7,4.2,60.3,16.2), (62.5,4.2,63.1,16.2), (66.5,4.2,67.1,16.2), (69.3,4.2,69.9,16.2), (73.3,4.2,73.9,16.2), (21.7,15.9,22.3,16.5), (25.7,15.9,26.3,16.5), (28.5,15.9,29.1,16.5), (32.5,15.9,33.1,16.5), (35.3,15.9,35.9,16.5), (39.3,15.9,39.9,16.5), (42.1,15.9,42.7,16.5), (46.1,15.9,46.7,16.5), (48.9,15.9,49.5,16.5), (52.9,15.9,53.5,16.5), (55.7,15.9,56.3,16.5), (59.7,15.9,60.3,16.5), (62.5,15.9,63.1,16.5), (66.5,15.9,67.1,16.5), (69.3,15.9,69.9,16.5), (73.3,15.9,73.9,16.5), (21.7,16.2,22.3,17.6), (21.7,16.2,22.3,17.6), (25.7,16.2,26.3,19), (25.7,16.2,26.3,19), (28.5,16.2,29.1,17.6), (28.5,16.2,29.1,17.6), (32.5,16.2,33.1,19), (32.5,16.2,33.1,19), (35.3,16.2,35.9,17.6), (35.3,16.2,35.9,17.6), (39.3,16.2,39.9,19), (39.3,16.2,39.9,19), (42.1,16.2,42.7,17.6), (42.1,16.2,42.7,17.6), (46.1,16.2,46.7,19), (46.1,16.2,46.7,19), (48.9,16.2,49.5,17.6), (48.9,16.2,49.5,17.6), (52.9,16.2,53.5,19), (52.9,16.2,53.5,19), (55.7,16.2,56.3,17.6), (55.7,16.2,56.3,17.6), (59.7,16.2,60.3,19), (59.7,16.2,60.3,19), (62.5,16.2,63.1,17.6), (62.5,16.2,63.1,17.6), (66.5,16.2,67.1,19), (66.5,16.2,67.1,19), (69.3,16.2,69.9,17.6), (69.3,16.2,69.9,17.6), (73.3,16.2,73.9,19), (73.3,16.2,73.9,19), (22.7,17.6,23.3,20.4), (22.7,17.6,23.3,20.4), (29.5,17.6,30.1,20.4), (29.5,17.6,30.1,20.4), (36.3,17.6,36.9,20.4), (36.3,17.6,36.9,20.4), (43.1,17.6,43.7,20.4), (43.1,17.6,43.7,20.4), (49.9,17.6,50.5,20.4), (49.9,17.6,50.5,20.4), (56.7,17.6,57.3,20.4), (56.7,17.6,57.3,20.4), (63.5,17.6,64.1,20.4), (63.5,17.6,64.1,20.4), (70.3,17.6,70.9,20.4), (70.3,17.6,70.9,20.4), (24.7,19,25.3,20.4), (24.7,19,25.3,20.4), (31.5,19,32.1,20.4), (31.5,19,32.1,20.4), (38.3,19,38.9,20.4), (38.3,19,38.9,20.4), (45.1,19,45.7,20.4), (45.1,19,45.7,20.4), (51.9,19,52.5,20.4), (51.9,19,52.5,20.4), (58.7,19,59.3,20.4), (58.7,19,59.3,20.4), (65.5,19,66.1,20.4), (65.5,19,66.1,20.4), (72.3,19,72.9,20.4), (72.3,19,72.9,20.4), (22.7,20.1,23.3,20.7), (24.7,20.1,25.3,20.7), (29.5,20.1,30.1,20.7), (31.5,20.1,32.1,20.7), (36.3,20.1,36.9,20.7), (38.3,20.1,38.9,20.7), (43.1,20.1,43.7,20.7), (45.1,20.1,45.7,20.7), (49.9,20.1,50.5,20.7), (51.9,20.1,52.5,20.7), (56.7,20.1,57.3,20.7), (58.7,20.1,59.3,20.7), (63.5,20.1,64.1,20.7), (65.5,20.1,66.1,20.7), (70.3,20.1,70.9,20.7), (72.3,20.1,72.9,20.7)])
R(ram_mem_port_data, metal3, [(0.4,5.2,75.4,6), (0.4,26,75.8,26.8), (0.4,39.4,75.4,40.2), (0.4,65.2,75.4,66), (0.4,73.4,75.4,74.2), (0.4,79.8,75.4,80.6), (0.4,84.2,75.4,85), (0.4,90.8,75.4,91.6)])
R(ram_mem_port_data, boundary, [(0,0,75,97.8)])
ram_mem_port_data.add(gdstk.Reference(ram_mem_precharge_array, (0,16.2), x_reflection=True))
ram_mem_port_data.add(gdstk.Reference(ram_mem_sense_amp_array, (0,53), x_reflection=True))
ram_mem_port_data.add(gdstk.Reference(ram_mem_write_driver_arr, (0,97.8), x_reflection=True))
ram_mem_port_data.add(gdstk.Label('din_0', (24,96.8), layer=51, texttype=0))
ram_mem_port_data.add(gdstk.Label('din_1', (30.8,96.8), layer=51, texttype=0))
ram_mem_port_data.add(gdstk.Label('din_2', (37.6,96.8), layer=51, texttype=0))
ram_mem_port_data.add(gdstk.Label('din_3', (44.4,96.8), layer=51, texttype=0))
ram_mem_port_data.add(gdstk.Label('din_4', (51.2,96.8), layer=51, texttype=0))
ram_mem_port_data.add(gdstk.Label('din_5', (58,96.8), layer=51, texttype=0))
ram_mem_port_data.add(gdstk.Label('din_6', (64.8,96.8), layer=51, texttype=0))
ram_mem_port_data.add(gdstk.Label('din_7', (71.6,96.8), layer=51, texttype=0))
ram_mem_port_data.add(gdstk.Label('dout_0', (21.6,51.5), layer=51, texttype=0))
ram_mem_port_data.add(gdstk.Label('dout_1', (28.4,51.5), layer=51, texttype=0))
ram_mem_port_data.add(gdstk.Label('dout_2', (35.2,51.5), layer=51, texttype=0))
ram_mem_port_data.add(gdstk.Label('dout_3', (42,51.5), layer=51, texttype=0))
ram_mem_port_data.add(gdstk.Label('dout_4', (48.8,51.5), layer=51, texttype=0))
ram_mem_port_data.add(gdstk.Label('dout_5', (55.6,51.5), layer=51, texttype=0))
ram_mem_port_data.add(gdstk.Label('dout_6', (62.4,51.5), layer=51, texttype=0))
ram_mem_port_data.add(gdstk.Label('dout_7', (69.2,51.5), layer=51, texttype=0))
ram_mem_port_data.add(gdstk.Label('rbl_bl', (15.2,10.2), layer=51, texttype=0))
ram_mem_port_data.add(gdstk.Label('rbl_br', (19.2,10.2), layer=51, texttype=0))
ram_mem_port_data.add(gdstk.Label('bl_0', (22,10.2), layer=51, texttype=0))
ram_mem_port_data.add(gdstk.Label('br_0', (26,10.2), layer=51, texttype=0))
ram_mem_port_data.add(gdstk.Label('bl_1', (28.8,10.2), layer=51, texttype=0))
ram_mem_port_data.add(gdstk.Label('br_1', (32.8,10.2), layer=51, texttype=0))
ram_mem_port_data.add(gdstk.Label('bl_2', (35.6,10.2), layer=51, texttype=0))
ram_mem_port_data.add(gdstk.Label('br_2', (39.6,10.2), layer=51, texttype=0))
ram_mem_port_data.add(gdstk.Label('bl_3', (42.4,10.2), layer=51, texttype=0))
ram_mem_port_data.add(gdstk.Label('br_3', (46.4,10.2), layer=51, texttype=0))
ram_mem_port_data.add(gdstk.Label('bl_4', (49.2,10.2), layer=51, texttype=0))
ram_mem_port_data.add(gdstk.Label('br_4', (53.2,10.2), layer=51, texttype=0))
ram_mem_port_data.add(gdstk.Label('bl_5', (56,10.2), layer=51, texttype=0))
ram_mem_port_data.add(gdstk.Label('br_5', (60,10.2), layer=51, texttype=0))
ram_mem_port_data.add(gdstk.Label('bl_6', (62.8,10.2), layer=51, texttype=0))
ram_mem_port_data.add(gdstk.Label('br_6', (66.8,10.2), layer=51, texttype=0))
ram_mem_port_data.add(gdstk.Label('bl_7', (69.6,10.2), layer=51, texttype=0))
ram_mem_port_data.add(gdstk.Label('br_7', (73.6,10.2), layer=51, texttype=0))
ram_mem_port_data.add(gdstk.Label('p_en_bar', (37.5,15), layer=49, texttype=0))
ram_mem_port_data.add(gdstk.Label('s_en', (37.5,22.8), layer=49, texttype=0))
ram_mem_port_data.add(gdstk.Label('w_en', (37.5,92.7), layer=49, texttype=0))
ram_mem_port_data.add(gdstk.Label('vdd', (37.9,5.6), layer=62, texttype=0))
ram_mem_port_data.add(gdstk.Label('vdd', (37.9,73.8), layer=62, texttype=0))
ram_mem_port_data.add(gdstk.Label('vdd', (37.9,39.8), layer=62, texttype=0))
ram_mem_port_data.add(gdstk.Label('vdd', (37.9,91.2), layer=62, texttype=0))
ram_mem_port_data.add(gdstk.Label('gnd', (37.9,65.6), layer=62, texttype=0))
ram_mem_port_data.add(gdstk.Label('gnd', (38.1,26.4), layer=62, texttype=0))
ram_mem_port_data.add(gdstk.Label('gnd', (37.9,80.2), layer=62, texttype=0))
ram_mem_port_data.add(gdstk.Label('gnd', (37.9,84.6), layer=62, texttype=0))

lib.write_gds('RAM_Mem_port_data.gds')
